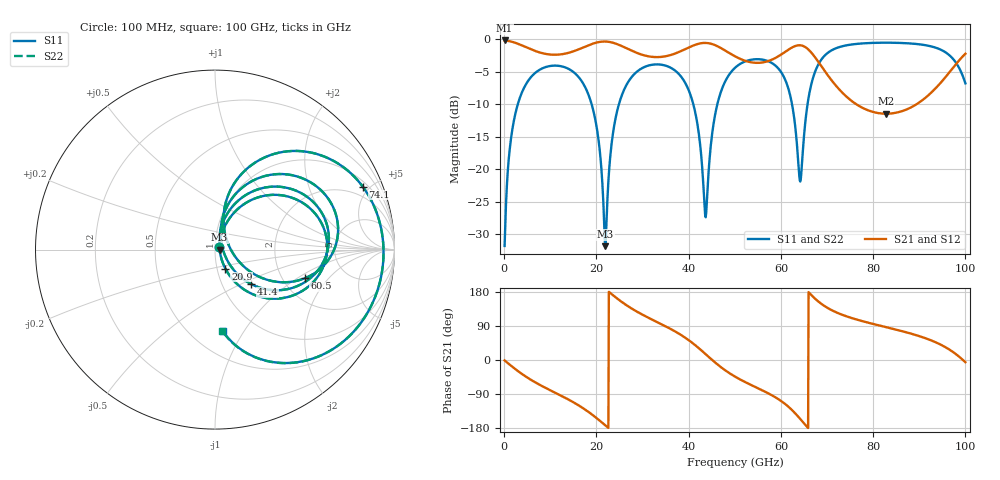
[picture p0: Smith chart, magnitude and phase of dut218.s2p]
! Touchstone file exported from HFSS 2026.1.0
!  File:  C:/ffzhzh/LocalFiles/Ansys_Project_Files/temp_train_TSV_RDL_218_1783662123_26216.aedt
!  Generated:  01:57:07 PM Jul 10, 2026
!  Design:  TSV_RDL
!  Project:  temp_train_TSV_RDL_218_1783662123_26216
! Variables:
!  h_bsmrdl = 4.28um
!  h_ox = 20um
!  h_rdl = 5um
!  h_sub = 56.18um
!  h_tmrdl = 2.2um
!  h_tsv = 56.18um
!  h_via = 3um
!  l_bsmrdl = 110.15um
!  l_sub = 2689.32um
!  l_tmrdl = 467.93um
!  m_sub = 200um
!  pitch = 53.49um
!  r_tsv = 11.35um
!  s_tmrdl = 10um
!  w_bsmrdl = 13.78um
!  w_sub = 500um
!  w_tmrdl = 15.27um
!  x_tsv_center1 = 475.565um
!  x_tsv_center2 = 599.495um
!  x_tsv_center3 = 1082.695um
!  x_tsv_center4 = 1206.625um
!  x_tsv_center5 = 1689.825um
!  x_tsv_center6 = 1813.755um
# GHz S MA R 50.000000
! Terminal data exported
! Port[1] = TM_RDL1_1_T1
! Port[2] = TM_RDL5_1_T1
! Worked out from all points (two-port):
!   1000 points, 100 MHz to 100 GHz, reference 50 ohm
!   highest |S21| = -0.20 dB at 100 MHz (marker M1); lowest = -11.5 dB at 82.8 GHz (marker M2)
!   |S21| within 3 dB of the highest: start of sweep to 51.74 GHz; 57.9 GHz to 67.83 GHz (9.927 GHz wide, 15.8 % of centre)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
!   lowest |S11| = -31.9 dB at 21.9 GHz (marker M3), VSWR 1.05, Z = 52.6 - j0.0756 ohm
!   |S11| at or under -10 dB: 18.96 GHz to 24.89 GHz (5.927 GHz wide, 27 % of centre); 41 GHz to 46.23 GHz (5.225 GHz wide, 12 % of centre); 62.41 GHz to 65.78 GHz (3.368 GHz wide, 5.25 % of centre)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
!   |S22| runs from -31.9 to -0.5 dB; largest |S21 - S12| = 1.8e-14
!   S11 on the Smith chart (normalised r, x): 100 MHz: 1.05, +0.02; 20.9 GHz: 1.10, -0.24; 41.4 GHz: 1.36, -0.56; 60.5 GHz: 2.62, -1.16; 74.1 GHz: 1.29, +4.55; 100 GHz: 0.71, -0.81
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0.1  0.02561 27.6  0.9774 -1.1  0.9774 -1.1  0.02561 27.6
! Gamma 0 0 0 0
! Port Impedance 50 0 50 0
1.7  0.1942 65.0  0.9548 -17.2  0.9548 -17.2  0.1942 65.0
4.5  0.4349 44.4  0.8748 -42.2  0.8748 -42.2  0.4349 44.4
10.8  0.6258 3.9  0.7589 -84.8  0.7589 -84.8  0.6258 3.9
16.8  0.4757 -34.1  0.8532 -124.7  0.8532 -124.7  0.4758 -34.1
20.9  0.1204 -61.3  0.9549 -161.8  0.9549 -161.8  0.1204 -61.4
21.9  0.02552 -1.6  0.9593 -172.0  0.9593 -172.0  0.02542 -1.7
25.3  0.3521 60.3  0.8913 155.0  0.8913 155.0  0.3521 60.3
33.4  0.6393 8.1  0.728 98.7  0.728 98.7  0.6393 8.1
41.4  0.276 -43.8  0.9044 39.4  0.9044 39.4  0.276 -43.8
43.7  0.04261 19.7  0.9355 15.2  0.9355 15.2  0.04267 19.8
46.1  0.3025 71.5  0.8875 -10.1  0.8875 -10.1  0.3026 71.5
50.1  0.6043 42.9  0.7366 -44.1  0.7366 -44.1  0.6044 42.9
55.7  0.6986 11.4  0.6596 -78.5  0.6596 -78.5  0.6986 11.5
60.5  0.5243 -17.8  0.7801 -112.1  0.7801 -112.1  0.5243 -17.8
64.2  0.08016 24.2  0.8971 -155.6  0.8971 -155.6  0.08023 24.2
66.7  0.4655 69.6  0.7808 170.1  0.7808 170.1  0.4655 69.6
74.1  0.895 23.1  0.3644 115.7  0.3644 115.7  0.895 23.1
82.8  0.9395 -3.6  0.2669 86.7  0.2669 86.7  0.9395 -3.6
83.4  0.9393 -5.2  0.2672 84.9  0.2672 84.9  0.9393 -5.2
92.5  0.8814 -35.1  0.3849 52.2  0.3849 52.2  0.8814 -35.1
100  0.4569 -84.5  0.7731 -5.8  0.7731 -5.8  0.4566 -84.8
